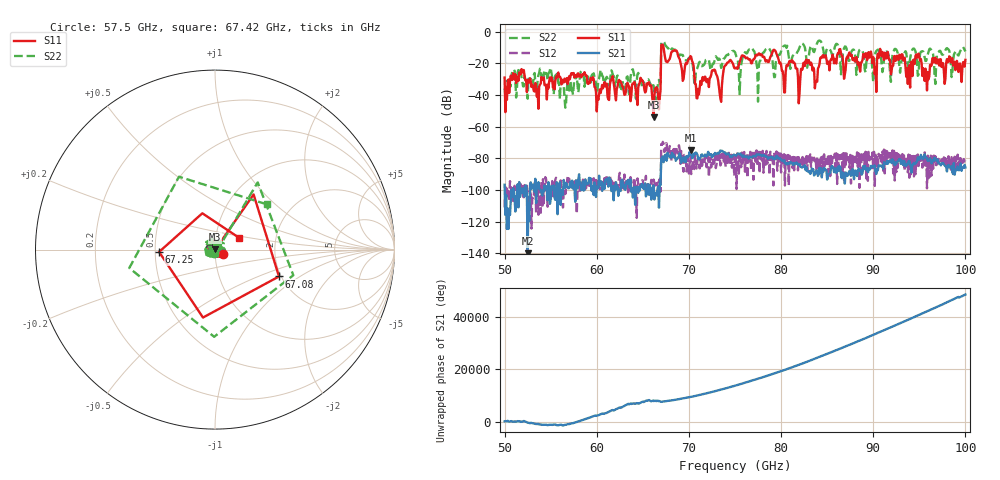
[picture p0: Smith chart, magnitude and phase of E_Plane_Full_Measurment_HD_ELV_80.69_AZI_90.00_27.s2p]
! 11/26/2026 3:28:52 PM
! C:\ANRITSUVNA\TEMP\TEMP.S2P
! CHANNEL.1
! TR.MEASUREMENT
! RAW.DATA
# HZ S RI R 50.0
! FREQ.HZ  S11RE  S11IM  S21RE  S21IM  S12RE  S12IM  S22RE  S22IM
!; PortSelection: Port_12
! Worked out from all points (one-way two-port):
!   601 points, 50 GHz to 100 GHz, reference 50 ohm
!   highest |S21| = -75.05 dB at 70.25 GHz (marker M1); lowest = -140.0 dB at 52.5 GHz (marker M2)
!   lowest |S11| = -54.0 dB at 66.17 GHz (marker M3), VSWR 1.00, Z = 50.1 + j0.144 ohm
!   |S11| at or under -10 dB: start of sweep to 67 GHz; 67.24 GHz to end of sweep
!   |S22| runs from -48.1 to -5.6 dB; largest |S21 - S12| = 0.00042
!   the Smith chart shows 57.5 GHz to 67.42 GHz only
!   S11 on the Smith chart (normalised r, x): 57.5 GHz: 1.09, -0.05; 67.08 GHz: 1.95, -0.69; 67.25 GHz: 0.52, -0.01; 67.42 GHz: 1.29, +0.18
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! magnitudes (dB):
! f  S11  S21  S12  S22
! 50 GHz  -29.0  -96.8  -111.1  -35.8
! 52.5 GHz  -30.5  -140.0  -104.9  -42.4
! 57.5 GHz  -26.2  -96.8  -96.4  -34.7
! 58.42 GHz  -27.1  -98.6  -97.5  -24.7
! 60.17 GHz  -43.2  -98.9  -93.7  -30.4
! 66.17 GHz  -54.0  -97.1  -93.5  -34.0
! 66.67 GHz  -41.5  -98.1  -99.3  -31.7
! 67.08 GHz  -8.3  -80.3  -71.5  -6.8
! 67.25 GHz  -10.1  -82.5  -70.9  -6.2
! 67.42 GHz  -16.6  -78.0  -75.3  -8.3
! 70.25 GHz  -16.0  -75.1  -90.0  -18.8
! 70.92 GHz  -42.2  -77.8  -81.7  -23.1
! 75 GHz  -23.3  -78.0  -79.1  -13.0
! 78.58 GHz  -19.2  -80.3  -79.4  -10.1
! 79.25 GHz  -11.5  -80.6  -76.5  -28.8
! 80.25 GHz  -28.0  -81.9  -83.7  -9.3
! 83.42 GHz  -24.5  -87.4  -82.3  -10.8
! 91.67 GHz  -16.8  -81.7  -77.1  -15.2
! 93.75 GHz  -33.0  -82.9  -88.9  -21.3
! 94.83 GHz  -15.0  -79.5  -77.7  -27.9
! 95.83 GHz  -37.1  -79.9  -99.0  -16.5
! 100 GHz  -17.9  -85.8  -81.5  -12.5
